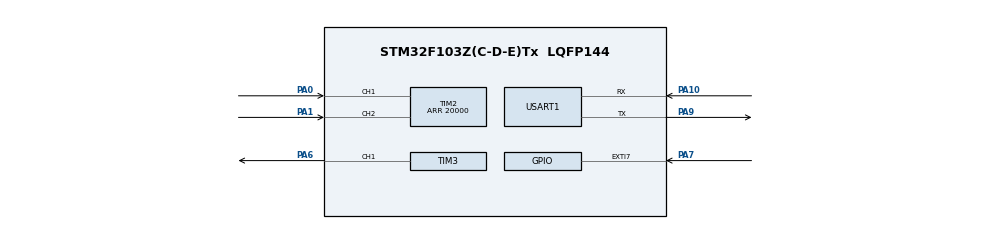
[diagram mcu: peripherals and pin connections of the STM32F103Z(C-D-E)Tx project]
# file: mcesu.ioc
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Mcu.Family=STM32F1
Mcu.Name=STM32F103Z(C-D-E)Tx
Mcu.Package=LQFP144
NVIC.PriorityGroup=NVIC_PRIORITYGROUP_4
NVIC.TIM2_IRQn=true\:0\:0\:false\:false\:true\:true\:true\:true
NVIC.TIM4_IRQn=true\:1\:0\:true\:false\:true\:true\:true\:true
PA0-WKUP.Signal=S_TIM2_CH1_ETR
PA1.Signal=S_TIM2_CH2
PA10.Mode=Asynchronous
PA10.Signal=USART1_RX
PA6.Signal=S_TIM3_CH1
PA7.Signal=GPXTI7
PA9.Mode=Asynchronous
PA9.Signal=USART1_TX
ProjectManager.HeapSize=0x200
ProjectManager.StackSize=0x400
ProjectManager.TargetToolchain=MDK-ARM V5
RCC.APB1Freq_Value=8000000
RCC.APB2Freq_Value=8000000
SH.S_TIM2_CH1_ETR.0=TIM2_CH1,Encoder_Interface
SH.S_TIM2_CH2.0=TIM2_CH2,Encoder_Interface
SH.S_TIM3_CH1.0=TIM3_CH1,PWM Generation1 CH1
TIM2.EncoderMode=TIM_ENCODERMODE_TI12
TIM2.Period=20000
TIM3.Channel-PWM\ Generation1\ CH1=TIM_CHANNEL_1
TIM3.Period=10000-1
TIM3.Prescaler=72-1
TIM4.Prescaler=720-1
USART1.VirtualMode=VM_ASYNC
VP_SYS_VS_ND.Mode=No_Debug
VP_TIM3_VS_ClockSourceINT.Mode=Internal
VP_TIM4_VS_ClockSourceINT.Mode=Internal
board=custom

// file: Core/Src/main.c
/* USER CODE BEGIN Header */
/**
  ******************************************************************************
  * @file           : main.c
  * @brief          : Main program body
  ******************************************************************************
  * @attention
  *
  * Copyright (c) 2023 STMicroelectronics.
  * All rights reserved.
  *
  * This software is licensed under terms that can be found in the LICENSE file
  * in the root directory of this software component.
  * If no LICENSE file comes with this software, it is provided AS-IS.
  *
  ******************************************************************************
  */
/* USER CODE END Header */
#include "main.h"
#include "encoder.h"

TIM_HandleTypeDef htim2;
TIM_HandleTypeDef htim3;
TIM_HandleTypeDef htim4;

UART_HandleTypeDef huart1;

/* USER CODE BEGIN PV */

Motor motor1;

void Motor_Init(void)

{

    HAL_TIM_Encoder_Start(&ENCODER_TIM, TIM_CHANNEL_ALL);      //开启编码器定时器

    __HAL_TIM_ENABLE_IT(&ENCODER_TIM,TIM_IT_UPDATE);           //开启编码器定时器更新中断,防溢出处理

    HAL_TIM_Base_Start_IT(&GAP_TIM);                       //开启10ms定时器中断

    HAL_TIM_PWM_Start(&PWM_TIM, TIM_CHANNEL_2);            //开启PWM

    HAL_TIM_PWM_Start(&PWM_TIM, TIM_CHANNEL_1);            //开启PWM

    __HAL_TIM_SET_COUNTER(&ENCODER_TIM, 10000);                //编码器定时器初始值设定为10000

    motor1.lastCount = 0;                                   //结构体内容初始化

    motor1.totalCount = 0;

    motor1.overflowNum = 0;

    motor1.speed = 0;

    motor1.direct = 0;

}

void HAL_TIM_PeriodElapsedCallback(TIM_HandleTypeDef *htim)//定时器回调函数，用于计算速度

{

    if(htim->Instance==ENCODER_TIM.Instance)//编码器输入定时器溢出中断

    {

        if(COUNTERNUM < 10000) motor1.overflowNum++;       //如果是向上溢出

        else if(COUNTERNUM >= 10000) motor1.overflowNum--; //如果是向下溢出

        __HAL_TIM_SetCounter(&ENCODER_TIM, 10000);             //重新设定初始值

    }

    else if(htim->Instance==GAP_TIM.Instance)//间隔定时器中断，是时候计算速度了

    {

        motor1.direct = __HAL_TIM_IS_TIM_COUNTING_DOWN(&ENCODER_TIM);//如果向上计数（正转），返回值为0，否则返回值为1

        motor1.totalCount = COUNTERNUM + motor1.overflowNum * RELOADVALUE;//一个周期内的总计数值等于目前计数值加上溢出的计数值

        motor1.speed = (float)(motor1.totalCount - motor1.lastCount) / (4 * MOTOR_SPEED_RERATIO * PULSE_PRE_ROUND) * 10;//算得每秒多少转

        //motor1.speed = (float)(motor1.totalCount - motor1.lastCount) / (4 * MOTOR_SPEED_RERATIO * PULSE_PRE_ROUND) * 10 * LINE_SPEED_C//算得车轮线速度每秒多少毫米

        motor1.lastCount = motor1.totalCount; //记录这一次的计数值

    }

}

/* USER CODE END PV */

void SystemClock_Config(void);
static void MX_GPIO_Init(void);
static void MX_TIM2_Init(void);
static void MX_TIM3_Init(void);
static void MX_TIM4_Init(void);
static void MX_USART1_UART_Init(void);

int main(void)
{

  /* MCU Configuration--------------------------------------------------------*/

  /* Reset of all peripherals, Initializes the Flash interface and the Systick. */
  HAL_Init();

  /* Configure the system clock */
  SystemClock_Config();

  /* Initialize all configured peripherals */
  MX_GPIO_Init();
  MX_TIM2_Init();
  MX_TIM3_Init();
  MX_TIM4_Init();
  MX_USART1_UART_Init();

  /* Infinite loop */
  while (1)
  {

  }
}

void SystemClock_Config(void)
{
  RCC_OscInitTypeDef RCC_OscInitStruct = {0};
  RCC_ClkInitTypeDef RCC_ClkInitStruct = {0};

  /** Initializes the RCC Oscillators according to the specified parameters
  * in the RCC_OscInitTypeDef structure.
  */
  RCC_OscInitStruct.OscillatorType = RCC_OSCILLATORTYPE_HSI;
  RCC_OscInitStruct.HSIState = RCC_HSI_ON;
  RCC_OscInitStruct.HSICalibrationValue = RCC_HSICALIBRATION_DEFAULT;
  RCC_OscInitStruct.PLL.PLLState = RCC_PLL_NONE;
  if (HAL_RCC_OscConfig(&RCC_OscInitStruct) != HAL_OK)
  {
    Error_Handler();
  }

  /** Initializes the CPU, AHB and APB buses clocks
  */
  RCC_ClkInitStruct.ClockType = RCC_CLOCKTYPE_HCLK|RCC_CLOCKTYPE_SYSCLK
                              |RCC_CLOCKTYPE_PCLK1|RCC_CLOCKTYPE_PCLK2;
  RCC_ClkInitStruct.SYSCLKSource = RCC_SYSCLKSOURCE_HSI;
  RCC_ClkInitStruct.AHBCLKDivider = RCC_SYSCLK_DIV1;
  RCC_ClkInitStruct.APB1CLKDivider = RCC_HCLK_DIV1;
  RCC_ClkInitStruct.APB2CLKDivider = RCC_HCLK_DIV1;

  if (HAL_RCC_ClockConfig(&RCC_ClkInitStruct, FLASH_LATENCY_0) != HAL_OK)
  {
    Error_Handler();
  }
}

static void MX_TIM2_Init(void)
{

  TIM_Encoder_InitTypeDef sConfig = {0};
  TIM_MasterConfigTypeDef sMasterConfig = {0};

  htim2.Instance = TIM2;
  htim2.Init.Prescaler = 0;
  htim2.Init.CounterMode = TIM_COUNTERMODE_UP;
  htim2.Init.Period = 20000;
  htim2.Init.ClockDivision = TIM_CLOCKDIVISION_DIV1;
  htim2.Init.AutoReloadPreload = TIM_AUTORELOAD_PRELOAD_DISABLE;
  sConfig.EncoderMode = TIM_ENCODERMODE_TI12;
  sConfig.IC1Polarity = TIM_ICPOLARITY_RISING;
  sConfig.IC1Selection = TIM_ICSELECTION_DIRECTTI;
  sConfig.IC1Prescaler = TIM_ICPSC_DIV1;
  sConfig.IC1Filter = 0;
  sConfig.IC2Polarity = TIM_ICPOLARITY_RISING;
  sConfig.IC2Selection = TIM_ICSELECTION_DIRECTTI;
  sConfig.IC2Prescaler = TIM_ICPSC_DIV1;
  sConfig.IC2Filter = 0;
  if (HAL_TIM_Encoder_Init(&htim2, &sConfig) != HAL_OK)
  {
    Error_Handler();
  }
  sMasterConfig.MasterOutputTrigger = TIM_TRGO_RESET;
  sMasterConfig.MasterSlaveMode = TIM_MASTERSLAVEMODE_DISABLE;
  if (HAL_TIMEx_MasterConfigSynchronization(&htim2, &sMasterConfig) != HAL_OK)
  {
    Error_Handler();
  }

}

static void MX_TIM3_Init(void)
{

  TIM_ClockConfigTypeDef sClockSourceConfig = {0};
  TIM_MasterConfigTypeDef sMasterConfig = {0};
  TIM_OC_InitTypeDef sConfigOC = {0};

  htim3.Instance = TIM3;
  htim3.Init.Prescaler = 72-1;
  htim3.Init.CounterMode = TIM_COUNTERMODE_UP;
  htim3.Init.Period = 10000-1;
  htim3.Init.ClockDivision = TIM_CLOCKDIVISION_DIV1;
  htim3.Init.AutoReloadPreload = TIM_AUTORELOAD_PRELOAD_DISABLE;
  if (HAL_TIM_Base_Init(&htim3) != HAL_OK)
  {
    Error_Handler();
  }
  sClockSourceConfig.ClockSource = TIM_CLOCKSOURCE_INTERNAL;
  if (HAL_TIM_ConfigClockSource(&htim3, &sClockSourceConfig) != HAL_OK)
  {
    Error_Handler();
  }
  if (HAL_TIM_PWM_Init(&htim3) != HAL_OK)
  {
    Error_Handler();
  }
  sMasterConfig.MasterOutputTrigger = TIM_TRGO_RESET;
  sMasterConfig.MasterSlaveMode = TIM_MASTERSLAVEMODE_DISABLE;
  if (HAL_TIMEx_MasterConfigSynchronization(&htim3, &sMasterConfig) != HAL_OK)
  {
    Error_Handler();
  }
  sConfigOC.OCMode = TIM_OCMODE_PWM1;
  sConfigOC.Pulse = 0;
  sConfigOC.OCPolarity = TIM_OCPOLARITY_HIGH;
  sConfigOC.OCFastMode = TIM_OCFAST_DISABLE;
  if (HAL_TIM_PWM_ConfigChannel(&htim3, &sConfigOC, TIM_CHANNEL_1) != HAL_OK)
  {
    Error_Handler();
  }
  HAL_TIM_MspPostInit(&htim3);

}

static void MX_TIM4_Init(void)
{

  TIM_ClockConfigTypeDef sClockSourceConfig = {0};
  TIM_MasterConfigTypeDef sMasterConfig = {0};

  htim4.Instance = TIM4;
  htim4.Init.Prescaler = 720-1;
  htim4.Init.CounterMode = TIM_COUNTERMODE_UP;
  htim4.Init.Period = 65535;
  htim4.Init.ClockDivision = TIM_CLOCKDIVISION_DIV1;
  htim4.Init.AutoReloadPreload = TIM_AUTORELOAD_PRELOAD_DISABLE;
  if (HAL_TIM_Base_Init(&htim4) != HAL_OK)
  {
    Error_Handler();
  }
  sClockSourceConfig.ClockSource = TIM_CLOCKSOURCE_INTERNAL;
  if (HAL_TIM_ConfigClockSource(&htim4, &sClockSourceConfig) != HAL_OK)
  {
    Error_Handler();
  }
  sMasterConfig.MasterOutputTrigger = TIM_TRGO_RESET;
  sMasterConfig.MasterSlaveMode = TIM_MASTERSLAVEMODE_DISABLE;
  if (HAL_TIMEx_MasterConfigSynchronization(&htim4, &sMasterConfig) != HAL_OK)
  {
    Error_Handler();
  }

}

static void MX_USART1_UART_Init(void)
{

  huart1.Instance = USART1;
  huart1.Init.BaudRate = 115200;
  huart1.Init.WordLength = UART_WORDLENGTH_8B;
  huart1.Init.StopBits = UART_STOPBITS_1;
  huart1.Init.Parity = UART_PARITY_NONE;
  huart1.Init.Mode = UART_MODE_TX_RX;
  huart1.Init.HwFlowCtl = UART_HWCONTROL_NONE;
  huart1.Init.OverSampling = UART_OVERSAMPLING_16;
  if (HAL_UART_Init(&huart1) != HAL_OK)
  {
    Error_Handler();
  }

}

static void MX_GPIO_Init(void)
{
  GPIO_InitTypeDef GPIO_InitStruct = {0};

  /* GPIO Ports Clock Enable */
  __HAL_RCC_GPIOA_CLK_ENABLE();

  /*Configure GPIO pin : PA7 */
  GPIO_InitStruct.Pin = GPIO_PIN_7;
  GPIO_InitStruct.Mode = GPIO_MODE_IT_RISING;
  GPIO_InitStruct.Pull = GPIO_NOPULL;
  HAL_GPIO_Init(GPIOA, &GPIO_InitStruct);

}

void Error_Handler(void)
{
  __disable_irq();
  while (1)
  {
  }
}
